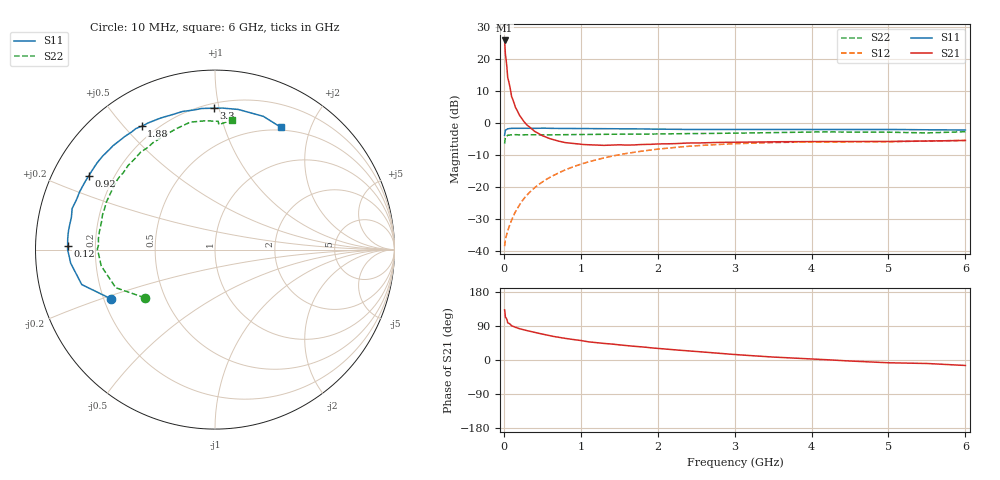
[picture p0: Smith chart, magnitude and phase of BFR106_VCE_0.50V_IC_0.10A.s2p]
! Infineon Technologies  Discrete & RF Semiconductors
! BFR106
! VCE = 0.50 V,  IC = 0.10 A
! Common Emitter S-Parameters:  Nov 2015
# GHz  S  MA  R  50
!  f  S11  S21  S12  S22
! GHz  MAG  ANG  MAG  ANG  MAG  ANG  MAG  ANG
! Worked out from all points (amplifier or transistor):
!   210 points, 10 MHz to 6 GHz, reference 50 ohm
!   highest |S21| = 25.7 dB at 10 MHz (marker M1)
!   |S21| within 3 dB of that: start of sweep to 17.33 MHz
!   unconditionally stable (mu >= 1): start of sweep to end of sweep
!   at 185 MHz: K = 1.84, MAG = 9.5 dB, |S12| = -26.3 dB
!   at 1.52 GHz: K = 1.27, MAG = -1.6 dB, |S12| = -9.8 dB
!   at 6 GHz: K = 1.03, MAG = -1.1 dB, |S12| = -5.5 dB
!   S11 on the Smith chart (normalised r, x): 10 MHz: 0.23, -0.21; 120 MHz: 0.10, +0.01; 920 MHz: 0.11, +0.27; 1.88 GHz: 0.15, +0.56; 3.3 GHz: 0.23, +0.97; 6 GHz: 0.46, +1.57
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0.01  0.6414 -154.7  19.19 132.2  0.012 43.4  0.4747 -145.6
0.02  0.7675 -165.3  11.84 113.5  0.0154 36.9  0.5925 -159.0
0.035  0.785 -170.1  8.405 108.9  0.018 42.2  0.6126 -165.6
0.05  0.8076 -174.6  5.094 98.3  0.0207 46.1  0.6404 -171.8
0.1  0.8213 179.9  2.591 90.3  0.0304 57.5  0.6497 -178.1
0.12  0.8216 178.7  2.254 89.0  0.0346 60.3  0.6519 -179.0
0.15  0.8227 176.9  1.752 86.2  0.041 63.4  0.6556 179.7
0.2  0.8231 174.8  1.334 82.8  0.0518 66.7  0.6489 177.6
0.26  0.8227 172.4  1.052 79.4  0.0658 68.3  0.6514 175.7
0.3  0.8218 171.0  0.927 77.6  0.0749 68.9  0.6525 174.7
0.4  0.8202 167.2  0.737 72.5  0.0976 69.1  0.6525 172.2
0.5  0.8282 164.0  0.631 68.4  0.1198 68.1  0.651 169.6
0.7  0.8201 156.7  0.522 60.1  0.1635 65.1  0.6525 165.3
0.92  0.8149 149.7  0.474 53.6  0.2105 60.7  0.6559 160.1
1.02  0.8147 146.0  0.461 50.7  0.2308 58.7  0.6581 158.0
1.88  0.7997 120.8  0.462 32.9  0.3739 39.6  0.6687 138.6
2.02  0.7973 117.4  0.469 30.3  0.3917 36.6  0.6736 135.6
3.1  0.7885 93.7  0.499 13.1  0.4768 16.6  0.693 114.5
3.3  0.7877 90.4  0.503 10.4  0.4845 13.5  0.6987 111.3
4.1  0.79 79.5  0.511 1.8  0.5037 2.8  0.7219 99.7
5.1  0.7873 69.2  0.515 -7.7  0.5102 -6.9  0.7115 88.5
6  0.7741 61.8  0.531 -14.4  0.5335 -14.3  0.7276 82.7
